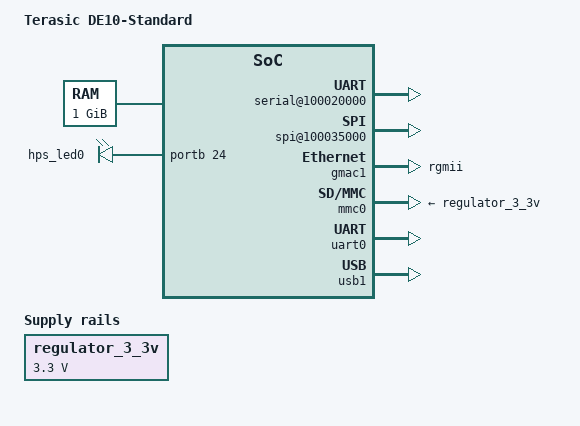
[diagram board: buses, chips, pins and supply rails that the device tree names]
// SPDX-License-Identifier: GPL-2.0

#include "socfpga_cyclone5.dtsi"

/ {
	model = "Terasic DE10-Standard";
	compatible = "altr,socfpga-cyclone5", "altr,socfpga";

	chosen {
		bootargs = "console=ttyS0,115200n8 earlyprintk";
		stdout-path = "serial0:115200n8";
	};

	/* DE10-Standard: 1 GiB DDR3. Euer altes sopc2dts-DTB hatte hier einen
	 * kaputten/unplausiblen zweiten Range-Eintrag - korrigiert auf 1GB @ 0x0,
	 * analog zum de0_nano_soc-Referenzdesign. Falls euer Board tatsaechlich
	 * eine andere DDR3-Bestueckung hat, hier anpassen. */
	memory@0 {
		device_type = "memory";
		reg = <0x0 0x40000000>; /* 1 GiB */
	};

	aliases {
		/* bestaetigt: gmac1 = ethernet@ff702000, entspricht eurem
		 * aktiven ethernet-Node (status=okay, rgmii) im Original-DTS */
		ethernet0 = &gmac1;
	};

	regulator_3_3v: regulator {
		compatible = "regulator-fixed";
		regulator-name = "3.3V";
		regulator-min-microvolt = <3300000>;
		regulator-max-microvolt = <3300000>;
	};

	leds {
		compatible = "gpio-leds";
		/* TODO: GPIO-Bank + Pin-Nummern gegen euer Board/Qsys-Design
		 * verifizieren - aus eurem Original-DTS uebernommen, aber die
		 * phandle-Referenz (0x23) war im Dump nicht eindeutig aufloesbar. */
		led-hps0 {
			label = "hps_led0";
			gpios = <&portb 24 0>;
		};
	};

	/*
	 * ---------------------------------------------------------------
	 * FPGA-Fabric-Seite: 1:1 aus eurem sopc2dts-generierten 4.5-DTS
	 * uebernommen. Dieser Block ist self-contained (eigene ranges/
	 * Adressuebersetzung) und haengt NICHT von socfpga.dtsi's
	 * fpga_bridge0-3 ab - daher unveraendert portierbar.
	 * ---------------------------------------------------------------
	 */
	bridge@c0000000 {
		compatible = "simple-bus";
		reg = <0xc0000000 0x20000000>, <0xff200000 0x200000>;
		reg-names = "axi_h2f", "axi_h2f_lw";
		clocks = <&osc1>, <&osc1>, <&osc1>;
		clock-names = "h2f_axi_clock", "h2f_lw_axi_clock", "f2h_sdram0_clock";
		#address-cells = <2>;
		#size-cells = <1>;
		ranges = <0x0 0x00000   0xc0000000 0x1000000>,   /* H2F: GPU-Fenster, 16 MB */
			 <0x1 0x20000   0xff220000 0x8>,
			 <0x1 0x01000   0xff201000 0x8>,
			 <0x1 0x05000   0xff205000 0x10>,
			 <0x1 0x03000   0xff203000 0x10>,
			 <0x1 0x04000   0xff204000 0x10>,
			 <0x1 0x35000   0xff235000 0x20>;

		gpu@0 {
			compatible = "kieweg,gpu-1.0";
			reg = <0x0 0x0 0x1000000>;
			interrupt-parent = <&intc>;
			interrupts = <0 43 4>;	/* GIC SPI 43, level-high - aus eurem Dump: 0x2b = 43 */
			clocks = <&osc1>;
		};

		serial@100020000 {
			compatible = "altr,juart-1.0";
			reg = <0x1 0x20000 0x8>;
			clocks = <&osc1>;
		};

		sysid@100001000 {
			/* Kein mainline-Treiber fuer "altr,sysid-1.0" vorhanden -
			 * Node bindet an nichts, ist aber harmlos. Nur relevant,
			 * falls ihr selbst einen sysid-Treiber mitbringt. */
			compatible = "altr,sysid-1.0";
			reg = <0x1 0x1000 0x8>;
			clocks = <&osc1>;
			id = <0xacd51302>;
			timestamp = <0x59322c34>;
		};

		gpio@100005000 {
			compatible = "altr,pio-1.0";
			reg = <0x1 0x5000 0x10>;
			interrupt-parent = <&intc>;
			interrupts = <0 40 1>;
			clocks = <&osc1>;
			altr,gpio-bank-width = <4>;
			altr,interrupt-type = <3>;
			#gpio-cells = <2>;
			gpio-controller;
		};

		gpio@100003000 {
			compatible = "altr,pio-1.0";
			reg = <0x1 0x3000 0x10>;
			clocks = <&osc1>;
			altr,gpio-bank-width = <10>;
			#gpio-cells = <2>;
			gpio-controller;
		};

		gpio@100004000 {
			compatible = "altr,pio-1.0";
			reg = <0x1 0x4000 0x10>;
			interrupt-parent = <&intc>;
			interrupts = <0 41 1>;
			clocks = <&osc1>;
			altr,gpio-bank-width = <10>;
			altr,interrupt-type = <3>;
			#gpio-cells = <2>;
			gpio-controller;
		};

		spi@100035000 {
			compatible = "altr,spi-1.0";
			reg = <0x1 0x35000 0x20>;
			interrupt-parent = <&intc>;
			interrupts = <0 42 4>;
			clocks = <&osc1>;
		};
	};
};

/* Externer 50 MHz Board-Oszillator - Wert aus eurem Original-DTS
 * (0x2faf080 = 50.000.000 Hz) uebernommen. "clkmgr" ist kein Label in
 * socfpga.dtsi, daher Override ueber vollen Node-Pfad (wie im
 * de0_nano_soc.dts-Original zu sehen). */
/ {
	soc {
		clkmgr@ffd04000 {
			clocks {
				osc1 {
					clock-frequency = <25000000>;
				};
			};
		};
	};
};

&gmac1 {
	status = "okay";
	phy-mode = "rgmii";
	/* TODO: txd/rxd-skew-ps aus eurem Original-DTS uebernehmen bzw. gegen
	 * PHY-Datenblatt/Board-Schaltplan pruefen - im de0_nano_soc-Referenzwert
	 * hier nur als Platzhalter uebernommen. */
	max-frame-size = <3800>;
};

&gpio0 {
	status = "okay";
};

&gpio1 {
	status = "okay";
};

&gpio2 {
	status = "okay";
};

&mmc0 {
	vmmc-supply = <&regulator_3_3v>;
	vqmmc-supply = <&regulator_3_3v>;
	status = "okay";
};

&uart0 {
	status = "okay";
};

&usb1 {
	status = "okay";
};
